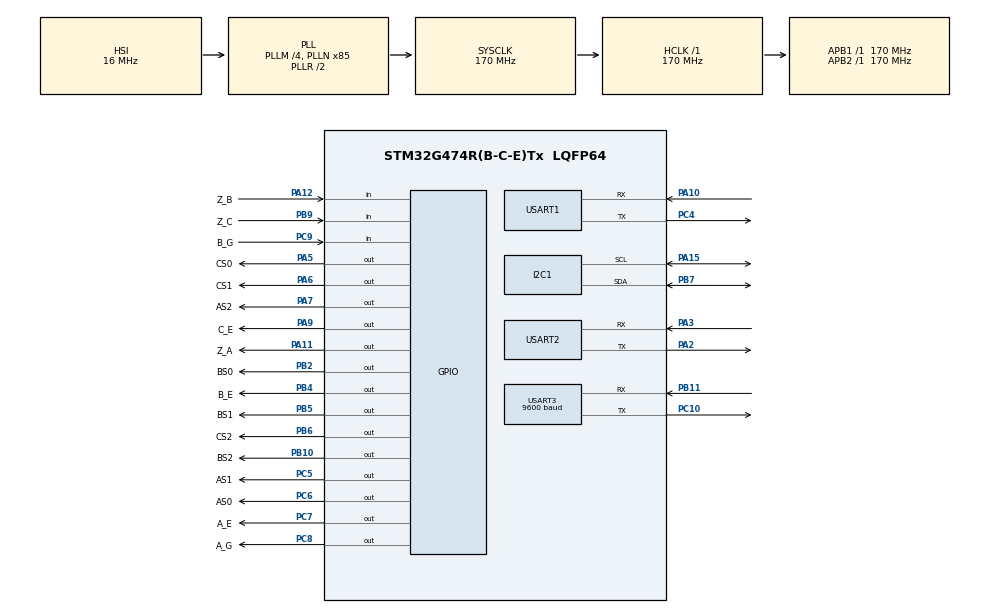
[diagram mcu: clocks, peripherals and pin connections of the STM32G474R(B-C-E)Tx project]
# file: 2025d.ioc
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Dma.Request0=USART1_RX
Dma.USART1_RX.0.Direction=DMA_PERIPH_TO_MEMORY
Dma.USART1_RX.0.EventEnable=DISABLE
Dma.USART1_RX.0.Instance=DMA1_Channel1
Dma.USART1_RX.0.MemDataAlignment=DMA_MDATAALIGN_BYTE
Dma.USART1_RX.0.MemInc=DMA_MINC_ENABLE
Dma.USART1_RX.0.Mode=DMA_CIRCULAR
Dma.USART1_RX.0.PeriphDataAlignment=DMA_PDATAALIGN_BYTE
Dma.USART1_RX.0.PeriphInc=DMA_PINC_DISABLE
Dma.USART1_RX.0.Polarity=HAL_DMAMUX_REQ_GEN_RISING
Dma.USART1_RX.0.Priority=DMA_PRIORITY_LOW
Dma.USART1_RX.0.RequestNumber=1
Dma.USART1_RX.0.SignalID=NONE
Dma.USART1_RX.0.SyncEnable=DISABLE
Dma.USART1_RX.0.SyncPolarity=HAL_DMAMUX_SYNC_NO_EVENT
Dma.USART1_RX.0.SyncRequestNumber=1
Dma.USART1_RX.0.SyncSignalID=NONE
I2C1.Timing=0x40B285C2
Mcu.Family=STM32G4
Mcu.Name=STM32G474R(B-C-E)Tx
Mcu.Package=LQFP64
NVIC.DMA1_Channel1_IRQn=true\:0\:0\:false\:false\:true\:false\:true\:true
NVIC.PriorityGroup=NVIC_PRIORITYGROUP_4
NVIC.USART1_IRQn=true\:0\:0\:false\:false\:true\:true\:true\:true
PA10.Mode=Asynchronous
PA10.Signal=USART1_RX
PA11.GPIO_Label=Z_A
PA11.GPIO_ModeDefaultOutputPP=GPIO_MODE_OUTPUT_PP
PA11.GPIO_PuPd=GPIO_NOPULL
PA11.Signal=GPIO_Output
PA12.GPIO_Label=Z_B
PA12.GPIO_PuPd=GPIO_PULLDOWN
PA12.Signal=GPIO_Input
PA13.Mode=Serial_Wire
PA13.Signal=SYS_JTMS-SWDIO
PA14.Mode=Serial_Wire
PA14.Signal=SYS_JTCK-SWCLK
PA15.Mode=I2C
PA15.Signal=I2C1_SCL
PA2.Mode=Asynchronous
PA2.Signal=USART2_TX
PA3.Mode=Asynchronous
PA3.Signal=USART2_RX
PA5.GPIO_Label=CS0
PA5.Signal=GPIO_Output
PA6.GPIO_Label=CS1
PA6.Signal=GPIO_Output
PA7.GPIO_Label=AS2
PA7.Signal=GPIO_Output
PA9.GPIO_Label=C_E
PA9.Signal=GPIO_Output
PB10.GPIO_Label=BS2
PB10.Signal=GPIO_Output
PB11.Mode=Asynchronous
PB11.Signal=USART3_RX
PB2.GPIO_Label=BS0
PB2.Signal=GPIO_Output
PB4.GPIO_Label=B_E
PB4.Signal=GPIO_Output
PB5.GPIO_Label=BS1
PB5.Signal=GPIO_Output
PB6.GPIO_Label=CS2
PB6.Signal=GPIO_Output
PB7.Mode=I2C
PB7.Signal=I2C1_SDA
PB9.GPIO_Label=Z_C
PB9.GPIO_PuPd=GPIO_PULLDOWN
PB9.Signal=GPIO_Input
PC10.Mode=Asynchronous
PC10.Signal=USART3_TX
PC4.Mode=Asynchronous
PC4.Signal=USART1_TX
PC5.GPIO_Label=AS1
PC5.Signal=GPIO_Output
PC6.GPIO_Label=AS0
PC6.Signal=GPIO_Output
PC7.GPIO_Label=A_E
PC7.Signal=GPIO_Output
PC8.GPIO_Label=A_G
PC8.GPIO_ModeDefaultOutputPP=GPIO_MODE_OUTPUT_OD
PC8.GPIO_PuPd=GPIO_PULLUP
PC8.Signal=GPIO_Output
PC9.GPIO_Label=B_G
PC9.GPIO_PuPd=GPIO_PULLDOWN
PC9.Signal=GPIO_Input
PF0-OSC_IN.Mode=HSE-External-Oscillator
PF0-OSC_IN.Signal=RCC_OSC_IN
PF1-OSC_OUT.Mode=HSE-External-Oscillator
PF1-OSC_OUT.Signal=RCC_OSC_OUT
ProjectManager.HeapSize=0x200
ProjectManager.StackSize=0x400
ProjectManager.TargetToolchain=CMake
RCC.ADC12Freq_Value=170000000
RCC.ADC345Freq_Value=170000000
RCC.AHBFreq_Value=170000000
RCC.APB1Freq_Value=170000000
RCC.APB1TimFreq_Value=170000000
RCC.APB2Freq_Value=170000000
RCC.APB2TimFreq_Value=170000000
RCC.CortexFreq_Value=170000000
RCC.EXTERNAL_CLOCK_VALUE=12288000
RCC.HCLKFreq_Value=170000000
RCC.HSE_VALUE=8000000
RCC.HSI48_VALUE=48000000
RCC.HSI_VALUE=16000000
RCC.LSE_VALUE=32768
RCC.PLLM=RCC_PLLM_DIV4
RCC.PLLN=85
RCC.SYSCLKFreq_VALUE=170000000
RCC.SYSCLKSource=RCC_SYSCLKSOURCE_PLLCLK
RCC.USBFreq_Value=170000000
RCC.VCOOutputFreq_Value=340000000
USART1.VirtualMode-Asynchronous=VM_ASYNC
USART1.WordLength=WORDLENGTH_8B
USART2.VirtualMode-Asynchronous=VM_ASYNC
USART3.BaudRate=9600
USART3.MSBFirstParam=ADVFEATURE_MSBFIRST_DISABLE
USART3.VirtualMode-Asynchronous=VM_ASYNC
VP_SYS_VS_DBSignals.Mode=DisableDeadBatterySignals
board=custom

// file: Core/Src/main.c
/* USER CODE BEGIN Header */
/**
  ******************************************************************************
  * @file           : main.c
  * @brief          : Main program body
  ******************************************************************************
  * @attention
  *
  * Copyright (c) 2025 STMicroelectronics.
  * All rights reserved.
  *
  * This software is licensed under terms that can be found in the LICENSE file
  * in the root directory of this software component.
  * If no LICENSE file comes with this software, it is provided AS-IS.
  *
  ******************************************************************************
  */
/* USER CODE END Header */
#include "main.h"
#include "dma.h"
#include "i2c.h"
#include "usart.h"
#include "gpio.h"

/* USER CODE BEGIN Includes */
#include <string.h>

#include "74HC4051.h"
#include "fdc2214.h"
#include "XDMK0310P.h"
/* USER CODE END Includes */

/* USER CODE BEGIN PTD */
typedef enum {
    MODE_IDLE,
    MODE_CAL_1M_SFTP,   // 1m SFTP
    MODE_CAL_50M_UTP,   // 50m UTP
    MODE_DE,
    MODE_SE,
    MODE_DEBUG
  } SystemMode;

typedef enum {
    DE_DETECT_ORDER,      //
    DE_DETECT_TYPE,   // UTP/SFTP
    DE_MEASURE_R
  } DE_State;

typedef enum {
    SE_DETECT_SHORT,
    SE_DETECT_TYPE,
    SE_MEASURE_LENGTH,
    SE_LOCATE_SHORT
  } SE_State;

typedef struct {
    uint8_t is_crossed;  // 0=straight, 1=crossover
    uint8_t order[8];
}PairOrder;

typedef struct {
    PairOrder pair_order;
    uint8_t type;       // 0=UTP, 1=SFTP
    float   R;
} DE_MeasCtx;

typedef struct {
    uint8_t is_shorted;          // 0=no short, 1=short detected
    uint8_t type;       // 0=UTP, 1=SFTP
    float   len;
    float   short_pos;
} SE_MeasCtx;
/* USER CODE END PTD */

/* USER CODE BEGIN PV */
volatile SystemMode    g_system_mode      = MODE_CAL_1M_SFTP;
volatile DE_State  g_de_substate  = DE_DETECT_ORDER;
volatile SE_State  g_se_substate  = SE_DETECT_SHORT;

volatile uint8_t cal1_done = 0;
volatile uint8_t cal2_done = 0;

DE_MeasCtx g_de_ctx;
SE_MeasCtx g_se_ctx;

uint8_t usart1_rx_buf[RX_BUF_LEN];
volatile uint8_t usart1_idle_flag = 0;
/* USER CODE END PV */

void SystemClock_Config(void);
/* USER CODE BEGIN PFP */
void calibrate_1m_sftp(void);
void calibrate_50m_utp(void);

void DE_detect_order(DE_MeasCtx *ctx);
void DE_detect_type(DE_MeasCtx *ctx);
void DE_measure_R(DE_MeasCtx *ctx);

void SE_detect_short(SE_MeasCtx *ctx);
void SE_detect_type(SE_MeasCtx *ctx);
void SE_measure_length(SE_MeasCtx *ctx);
void SE_measure_shortpos(SE_MeasCtx *ctx);

/* USER CODE END PFP */

int main(void)
{

  /* MCU Configuration--------------------------------------------------------*/

  /* Reset of all peripherals, Initializes the Flash interface and the Systick. */
  HAL_Init();

  /* Configure the system clock */
  SystemClock_Config();

  /* Initialize all configured peripherals */
  MX_GPIO_Init();
  MX_DMA_Init();
  MX_USART2_UART_Init();
  MX_USART1_UART_Init();
  MX_I2C1_Init();
  MX_USART3_UART_Init();
  /* USER CODE BEGIN 2 */
  g_system_mode = MODE_DEBUG;

  HC4051_init(AS0_GPIO_Port, AS0_Pin,
                AS1_GPIO_Port, AS1_Pin,
                AS2_GPIO_Port, AS2_Pin,
                A_E_GPIO_Port, A_E_Pin);    //TX
  HC4051_init(BS0_GPIO_Port, BS0_Pin,
                BS1_GPIO_Port, BS1_Pin,
                BS2_GPIO_Port, BS2_Pin,
                B_E_GPIO_Port, B_E_Pin);    //RX

    FDC2214_Init(hi2c1);
    __HAL_UART_ENABLE_IT(&huart1, UART_IT_IDLE);
    HAL_UART_Receive_DMA(&huart1,usart1_rx_buf,RX_BUF_LEN);
  /* USER CODE END 2 */

  /* Infinite loop */
  /* USER CODE BEGIN WHILE */
  while (1)
  {
     switch (g_system_mode) {
         case MODE_DEBUG: {
             DE_measure_R(&g_de_ctx);
             printf("%4f Ohm\r\n", g_de_ctx.R);
             HAL_Delay(500);
             break;
         }
        case MODE_IDLE: {
            if (usart1_idle_flag) {

                HAL_UART_Transmit(&huart2, usart1_rx_buf, RX_BUF_LEN, 1000);
                HAL_Delay(10);

                uint8_t cmd = usart1_rx_buf[0];
                if (cmd == 0x01) {
                    g_system_mode = MODE_CAL_1M_SFTP;
                } else if (cmd == 0x02) {
                    g_system_mode = MODE_CAL_50M_UTP;
                } else if (cmd == 0x03) {
                    g_system_mode  = MODE_DE;
                    g_de_substate  = DE_DETECT_ORDER;
                } else if (cmd == 0x04) {
                    g_system_mode  = MODE_SE;
                    g_se_substate  = SE_DETECT_SHORT;
                }
                usart1_idle_flag = 0;
                memset(usart1_rx_buf,0,RX_BUF_LEN);
            }
            break;
        }

        case MODE_CAL_1M_SFTP:
            calibrate_1m_sftp();
            g_system_mode = MODE_IDLE;
            cal1_done = 1;
             printf("Jiao.t0.txt=\" Ready1 \"\xff\xff\xff");
             printf("Jiao.t0.txt=\" Ready1 \"\xff\xff\xff\r\n");
            break;

        case MODE_CAL_50M_UTP:
            calibrate_50m_utp();
            g_system_mode = MODE_IDLE;
            cal2_done = 1;
             printf("Jiao.t1.txt=\" Ready2 \"\xff\xff\xff");
             printf("Jiao.t1.txt=\" Ready2 \"\xff\xff\xff\r\n");
            break;

        case MODE_DE:
            switch (g_de_substate) {
                case DE_DETECT_ORDER:
                    DE_detect_order(&g_de_ctx);
                    if (g_de_ctx.pair_order.is_crossed) {
                        printf("Shuang.t0.txt=\" crossed \"\xff\xff\xff");
                        printf("Shuang.t0.txt=\" crossed \"\xff\xff\xff\r\n");
                    }
                    else if (!g_de_ctx.pair_order.is_crossed) {
                        printf("Shuang.t0.txt=\" straight \"\xff\xff\xff");
                        printf("Shuang.t0.txt=\" straight \"\xff\xff\xff\r\n");
                    }
                    g_de_substate = DE_DETECT_TYPE;
                    break;
                case DE_DETECT_TYPE:
                    DE_detect_type(&g_de_ctx);
                    if (g_de_ctx.type == 0) {
                        printf("Shuang.t1.txt=\" UTP \"\xff\xff\xff");
                        printf("Shuang.t1.txt=\" UTP \"\xff\xff\xff\r\n");
                    }
                    else if (g_de_ctx.type == 1) {
                        printf("Shuang.t1.txt=\" SFTP \"\xff\xff\xff");
                        printf("Shuang.t1.txt=\" SFTP \"\xff\xff\xff\r\n");
                    }
                    g_de_substate = DE_MEASURE_R;
                    break;
                case DE_MEASURE_R:
                    DE_measure_R(&g_de_ctx);
                    printf("Shuang.t2.txt=\" %.5g Ohm \"\xff\xff\xff",g_de_ctx.R);
                    printf("Shuang.t2.txt=\" %.5g Ohm \"\xff\xff\xff\r\n",g_de_ctx.R);
                    g_system_mode = MODE_IDLE;
                    g_de_substate = DE_DETECT_ORDER;
                    break;
            }
            break;

        case MODE_SE:
            switch (g_se_substate) {
                case SE_DETECT_SHORT:
                    SE_detect_short(&g_se_ctx);
                    if (g_se_ctx.is_shorted == 1) {
                        printf("Dan.t0.txt=\" NaN \"\xff\xff\xff");
                        printf("Dan.t0.txt=\" NaN \"\xff\xff\xff\r\n");
                        printf("Dan.t1.txt=\" short \"\xff\xff\xff");
                        printf("Dan.t1.txt=\" short \"\xff\xff\xff\r\n");
                        g_se_substate = SE_LOCATE_SHORT;
                    }
                    else {
                        printf("Dan.t1.txt=\" short \"\xff\xff\xff");
                        printf("Dan.t1.txt=\" short \"\xff\xff\xff\r\n");
                        g_se_substate = SE_DETECT_TYPE;
                    }
                    break;
                case SE_DETECT_TYPE:
                    SE_detect_type(&g_se_ctx);
                    g_se_substate = SE_MEASURE_LENGTH;
                    break;
                case SE_MEASURE_LENGTH:
                    SE_measure_length(&g_se_ctx);
                    printf("Dan.t0.txt=\" %.5g m \"\xff\xff\xff",g_se_ctx.len);
                    printf("Dan.t0.txt=\" %.5g m \"\xff\xff\xff\r\n",g_se_ctx.len);
                    g_se_substate = SE_LOCATE_SHORT;
                    break;
                case SE_LOCATE_SHORT:
                    SE_measure_shortpos(&g_se_ctx);
                    printf("Dan.t2.txt=\" %.5g m \"\xff\xff\xff",g_se_ctx.short_pos);
                    printf("Dan.t2.txt=\" %.5g m \"\xff\xff\xff\r\n",g_se_ctx.short_pos);
                    g_system_mode = MODE_IDLE;
                    break;
            }
            break;

        default:
            g_system_mode = MODE_IDLE;
            break;
        } // end switch

    /* USER CODE END WHILE */

  }
}

void SystemClock_Config(void)
{
  RCC_OscInitTypeDef RCC_OscInitStruct = {0};
  RCC_ClkInitTypeDef RCC_ClkInitStruct = {0};

  /** Configure the main internal regulator output voltage
  */
  HAL_PWREx_ControlVoltageScaling(PWR_REGULATOR_VOLTAGE_SCALE1_BOOST);

  /** Initializes the RCC Oscillators according to the specified parameters
  * in the RCC_OscInitTypeDef structure.
  */
  RCC_OscInitStruct.OscillatorType = RCC_OSCILLATORTYPE_HSI;
  RCC_OscInitStruct.HSIState = RCC_HSI_ON;
  RCC_OscInitStruct.HSICalibrationValue = RCC_HSICALIBRATION_DEFAULT;
  RCC_OscInitStruct.PLL.PLLState = RCC_PLL_ON;
  RCC_OscInitStruct.PLL.PLLSource = RCC_PLLSOURCE_HSI;
  RCC_OscInitStruct.PLL.PLLM = RCC_PLLM_DIV4;
  RCC_OscInitStruct.PLL.PLLN = 85;
  RCC_OscInitStruct.PLL.PLLP = RCC_PLLP_DIV2;
  RCC_OscInitStruct.PLL.PLLQ = RCC_PLLQ_DIV2;
  RCC_OscInitStruct.PLL.PLLR = RCC_PLLR_DIV2;
  if (HAL_RCC_OscConfig(&RCC_OscInitStruct) != HAL_OK)
  {
    Error_Handler();
  }

  /** Initializes the CPU, AHB and APB buses clocks
  */
  RCC_ClkInitStruct.ClockType = RCC_CLOCKTYPE_HCLK|RCC_CLOCKTYPE_SYSCLK
                              |RCC_CLOCKTYPE_PCLK1|RCC_CLOCKTYPE_PCLK2;
  RCC_ClkInitStruct.SYSCLKSource = RCC_SYSCLKSOURCE_PLLCLK;
  RCC_ClkInitStruct.AHBCLKDivider = RCC_SYSCLK_DIV1;
  RCC_ClkInitStruct.APB1CLKDivider = RCC_HCLK_DIV1;
  RCC_ClkInitStruct.APB2CLKDivider = RCC_HCLK_DIV1;

  if (HAL_RCC_ClockConfig(&RCC_ClkInitStruct, FLASH_LATENCY_4) != HAL_OK)
  {
    Error_Handler();
  }
}

/* USER CODE BEGIN 4 */
void calibrate_1m_sftp(void) {
    // TODO: ?????????
}
void calibrate_50m_utp(void) {
    // TODO: ?????????
}

void DE_detect_order(DE_MeasCtx *ctx) {
    uint8_t is_crossed_flag = 0;
    HAL_GPIO_WritePin(Z_A_GPIO_Port,Z_A_Pin,GPIO_PIN_SET);
    for (uint8_t i = 0; i < 8; i++) {
        ctx->pair_order.order[i] = 0xFF;
        HC4051_open(0,i);
        HAL_Delay(10);
        for (uint8_t j = 0; j < 8; j++) {
            HC4051_open(1,j);
            HAL_Delay(10);
            if (HAL_GPIO_ReadPin(Z_B_GPIO_Port,Z_B_Pin) == GPIO_PIN_SET) {
                ctx->pair_order.order[i] = j;
                if (i != j) {
                    is_crossed_flag = 1; // crossed
                }
                break;
            }
        }
    }
    ctx->pair_order.is_crossed = is_crossed_flag;
    HC4051_close(0);
    HC4051_close(1);
    HAL_GPIO_WritePin(Z_A_GPIO_Port, Z_A_Pin, GPIO_PIN_RESET);
}
void DE_detect_type(DE_MeasCtx *ctx) {
    // TODO: ???? UTP/SFTP?????? ctx->type
    ctx->type = 0;
}
void DE_measure_R(DE_MeasCtx *ctx) {
    ctx->R = XDMK0310P_getresister(&huart3);
}

void SE_detect_short(SE_MeasCtx *ctx) {
    // TODO: ??????????? ctx->is_shorted
    ctx->is_shorted = 0;
}
void SE_detect_type(SE_MeasCtx *ctx) {
    // TODO: ???? UTP/SFTP?????? ctx->type
    ctx->type = 0;
}
void SE_measure_length(SE_MeasCtx *ctx) {
    float FDC2214_Value = 0;
    float len;
    FDC2214_Value = FDC2214_Cap_Calculate(0);
    len = FDC2214_Value * 0.025986 - 1.39567; //to be calibrated
    ctx->len = len;
}
void SE_measure_shortpos(SE_MeasCtx *ctx) {
    // TODO: TDR ?????????????? ctx->short_pos
    ctx->short_pos = 0.0f;
}

/* USER CODE END 4 */

void Error_Handler(void)
{
  __disable_irq();
  while (1)
  {
  }
}
